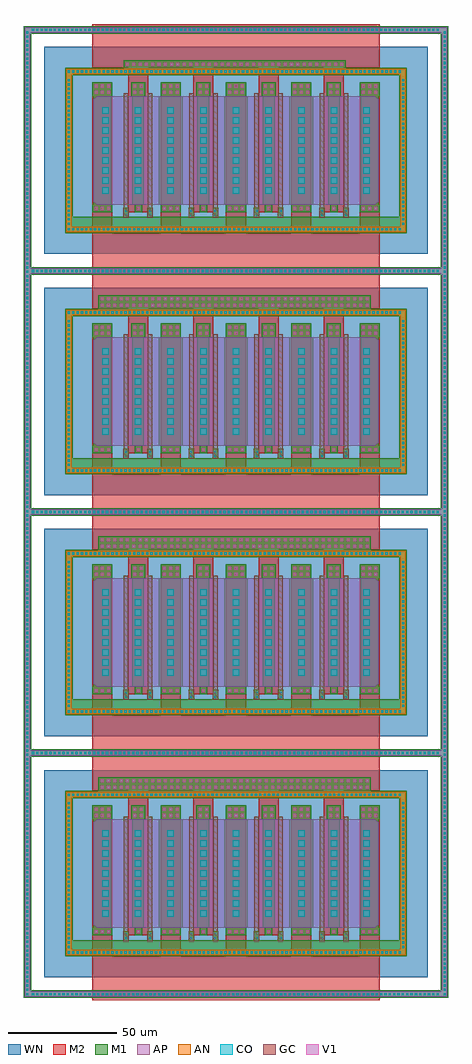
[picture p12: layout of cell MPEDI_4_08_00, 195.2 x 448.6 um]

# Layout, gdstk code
import gdstk
lib = gdstk.Library(unit=1e-6, precision=1e-09)
def R(c, l, rs):  # rectangles x0, y0, x1, y1
    for r in rs: c.add(gdstk.rectangle(r[:2], r[2:], *l))
def A(c, l, x, y, w, h, nx, ny, dx, dy):  # array of equal rectangles
    R(c, l, [(x+i*dx, y+j*dy, x+i*dx+w, y+j*dy+h) for i in range(nx) for j in range(ny)])
def P(c, l, *ps):  # polygons
    for p in ps: c.add(gdstk.Polygon(p, *l))
AP = (3, 1)
AN = (3, 2)
GC = (8, 1)
CO = (11, 0)
M1 = (13, 0)
V1 = (19, 0)
M2 = (20, 0)
WN = (140, 0)

wlmp_cdns_696587111913 = lib.new_cell('WLMP_CDNS_696587111913')
R(wlmp_cdns_696587111913, WN, [(1.5,1.5,177.7,96.7)])

tc14_cdns_696587111910 = lib.new_cell('TC14_CDNS_696587111910')
R(tc14_cdns_696587111910, M1, [(-51,-1.7,51,1.7)])
A(tc14_cdns_696587111910, V1, -50, -0.7, 1.4, 1.4, 35, 1, 2.9, 0)
R(tc14_cdns_696587111910, M2, [(-51,-1.7,51,1.7)])

sgct_cdns_696587111911 = lib.new_cell('SGCT_CDNS_696587111911')
R(sgct_cdns_696587111911, GC, [(-1.3,-2.3,1.3,2.3)])
R(sgct_cdns_696587111911, CO, [(-0.5,-1.5,0.5,-0.5), (-0.5,0.5,0.5,1.5)])
R(sgct_cdns_696587111911, M1, [(-1.3,-2.3,1.3,2.3)])

tc14_cdns_696587111912 = lib.new_cell('TC14_CDNS_696587111912')
R(tc14_cdns_696587111912, M1, [(-4.6,-1.7,4.6,1.7)])
A(tc14_cdns_696587111912, V1, -3.6, -0.7, 1.4, 1.4, 3, 1, 2.9, 0)
R(tc14_cdns_696587111912, M2, [(-4.6,-1.7,4.6,1.7)])

tc14_cdns_696587111913 = lib.new_cell('TC14_CDNS_696587111913')
R(tc14_cdns_696587111913, M1, [(-4.6,-3.1,4.6,3.2)])
A(tc14_cdns_696587111913, V1, -3.6, -2.1, 1.4, 1.4, 3, 2, 2.9, 2.9)
R(tc14_cdns_696587111913, M2, [(-4.6,-3.1,4.6,3.2)])

tc14_cdns_696587111914 = lib.new_cell('TC14_CDNS_696587111914')
R(tc14_cdns_696587111914, M1, [(-1.7,-3.1,1.7,3.2)])
R(tc14_cdns_696587111914, V1, [(-0.7,-2.1,0.7,-0.7), (-0.7,0.8,0.7,2.2)])
R(tc14_cdns_696587111914, M2, [(-1.7,-3.1,1.7,3.2)])

tc14_cdns_696587111915 = lib.new_cell('TC14_CDNS_696587111915')
R(tc14_cdns_696587111915, M1, [(-1.7,-1.7,1.7,1.7)])
R(tc14_cdns_696587111915, V1, [(-0.7,-0.7,0.7,0.7)])
R(tc14_cdns_696587111915, M2, [(-1.7,-1.7,1.7,1.7)])

mpedi_08_00_int = lib.new_cell('MPEDI_08_00_int')
P(mpedi_08_00_int, AP, [(25.5,24.1),(24.1,25.5),(24.1,72.7),(25.5,74.1),(153.7,74.1),(155.1,72.7),(155.1,25.5),(153.7,24.1)])
P(mpedi_08_00_int, AN, [(11.5,11.5),(11.5,84.1),(14.1,84.1),(14.1,14.1),(165.1,14.1),(165.1,84.1),(11.5,84.1),(11.5,86.7),(167.7,86.7),(167.7,11.5)],
  [(11.5,11.5),(11.5,84.1),(14.1,84.1),(14.1,14.1),(165.1,14.1),(165.1,84.1),(11.5,84.1),(11.5,86.7),(167.7,86.7),(167.7,11.5)])
R(mpedi_08_00_int, GC, [(38.1,22.7,40.1,75.3), (49.1,22.7,51.1,75.3), (68.1,22.7,70.1,75.3), (79.1,22.7,81.1,75.3), (98.1,22.7,100.1,75.3), (109.1,22.7,111.1,75.3), (128.1,22.7,130.1,75.3), (139.1,22.7,141.1,75.3)])
A(mpedi_08_00_int, CO, 12.3, 12.3, 1, 1, 77, 2, 2, 72.6)
A(mpedi_08_00_int, CO, 12.3, 14.9, 1, 1, 1, 34, 0, 2)
A(mpedi_08_00_int, CO, 165.9, 14.9, 1, 1, 1, 34, 0, 2)
A(mpedi_08_00_int, CO, 28.1, 29.2, 3, 3, 1, 9, 0, 4.6)
A(mpedi_08_00_int, CO, 148.1, 29.2, 3, 3, 1, 9, 0, 4.6)
R(mpedi_08_00_int, CO, [(43.1,29.2,46.1,32.2), (43.1,29.2,46.1,32.2), (58.1,29.2,61.1,32.2), (58.1,29.2,61.1,32.2), (73.1,29.2,76.1,32.2), (73.1,29.2,76.1,32.2), (88.1,29.2,91.1,32.2), (88.1,29.2,91.1,32.2), (103.1,29.2,106.1,32.2), (103.1,29.2,106.1,32.2), (118.1,29.2,121.1,32.2), (118.1,29.2,121.1,32.2), (133.1,29.2,136.1,32.2), (133.1,29.2,136.1,32.2), (43.1,33.8,46.1,36.8), (43.1,33.8,46.1,36.8), (58.1,33.8,61.1,36.8), (58.1,33.8,61.1,36.8), (73.1,33.8,76.1,36.8), (73.1,33.8,76.1,36.8), (88.1,33.8,91.1,36.8), (88.1,33.8,91.1,36.8), (103.1,33.8,106.1,36.8), (103.1,33.8,106.1,36.8), (118.1,33.8,121.1,36.8), (118.1,33.8,121.1,36.8), (133.1,33.8,136.1,36.8), (133.1,33.8,136.1,36.8), (43.1,38.4,46.1,41.4), (43.1,38.4,46.1,41.4), (58.1,38.4,61.1,41.4), (58.1,38.4,61.1,41.4), (73.1,38.4,76.1,41.4), (73.1,38.4,76.1,41.4), (88.1,38.4,91.1,41.4), (88.1,38.4,91.1,41.4), (103.1,38.4,106.1,41.4), (103.1,38.4,106.1,41.4), (118.1,38.4,121.1,41.4), (118.1,38.4,121.1,41.4), (133.1,38.4,136.1,41.4), (133.1,38.4,136.1,41.4), (43.1,43,46.1,46), (43.1,43,46.1,46), (58.1,43,61.1,46), (58.1,43,61.1,46), (73.1,43,76.1,46), (73.1,43,76.1,46), (88.1,43,91.1,46), (88.1,43,91.1,46), (103.1,43,106.1,46), (103.1,43,106.1,46), (118.1,43,121.1,46), (118.1,43,121.1,46), (133.1,43,136.1,46), (133.1,43,136.1,46), (43.1,47.6,46.1,50.6), (43.1,47.6,46.1,50.6), (58.1,47.6,61.1,50.6), (58.1,47.6,61.1,50.6), (73.1,47.6,76.1,50.6), (73.1,47.6,76.1,50.6), (88.1,47.6,91.1,50.6), (88.1,47.6,91.1,50.6), (103.1,47.6,106.1,50.6), (103.1,47.6,106.1,50.6), (118.1,47.6,121.1,50.6), (118.1,47.6,121.1,50.6), (133.1,47.6,136.1,50.6), (133.1,47.6,136.1,50.6), (43.1,52.2,46.1,55.2), (43.1,52.2,46.1,55.2), (58.1,52.2,61.1,55.2), (58.1,52.2,61.1,55.2), (73.1,52.2,76.1,55.2), (73.1,52.2,76.1,55.2), (88.1,52.2,91.1,55.2), (88.1,52.2,91.1,55.2), (103.1,52.2,106.1,55.2), (103.1,52.2,106.1,55.2), (118.1,52.2,121.1,55.2), (118.1,52.2,121.1,55.2), (133.1,52.2,136.1,55.2), (133.1,52.2,136.1,55.2), (43.1,56.8,46.1,59.8), (43.1,56.8,46.1,59.8), (58.1,56.8,61.1,59.8), (58.1,56.8,61.1,59.8), (73.1,56.8,76.1,59.8), (73.1,56.8,76.1,59.8), (88.1,56.8,91.1,59.8), (88.1,56.8,91.1,59.8), (103.1,56.8,106.1,59.8), (103.1,56.8,106.1,59.8), (118.1,56.8,121.1,59.8), (118.1,56.8,121.1,59.8), (133.1,56.8,136.1,59.8), (133.1,56.8,136.1,59.8), (43.1,61.4,46.1,64.4), (43.1,61.4,46.1,64.4), (58.1,61.4,61.1,64.4), (58.1,61.4,61.1,64.4), (73.1,61.4,76.1,64.4), (73.1,61.4,76.1,64.4), (88.1,61.4,91.1,64.4), (88.1,61.4,91.1,64.4), (103.1,61.4,106.1,64.4), (103.1,61.4,106.1,64.4), (118.1,61.4,121.1,64.4), (118.1,61.4,121.1,64.4), (133.1,61.4,136.1,64.4), (133.1,61.4,136.1,64.4), (43.1,66,46.1,69), (43.1,66,46.1,69), (58.1,66,61.1,69), (58.1,66,61.1,69), (73.1,66,76.1,69), (73.1,66,76.1,69), (88.1,66,91.1,69), (88.1,66,91.1,69), (103.1,66,106.1,69), (103.1,66,106.1,69), (118.1,66,121.1,69), (118.1,66,121.1,69), (133.1,66,136.1,69), (133.1,66,136.1,69)])
R(mpedi_08_00_int, M1, [(11.5,11.5,167.7,14.1), (11.5,14.1,14.1,84.1), (14.1,14.1,165.1,18.5), (165.1,14.1,167.7,84.1), (24.1,24.1,32.3,74.1), (41.9,24.1,47.3,74.1), (41.9,24.1,47.3,74.1), (54.1,24.1,62.3,74.1), (56.9,24.1,65.1,74.1), (71.9,24.1,77.3,74.1), (71.9,24.1,77.3,74.1), (84.1,24.1,92.3,74.1), (86.9,24.1,95.1,74.1), (101.9,24.1,107.3,74.1), (101.9,24.1,107.3,74.1), (114.1,24.1,122.3,74.1), (116.9,24.1,125.1,74.1), (131.9,24.1,137.3,74.1), (131.9,24.1,137.3,74.1), (146.9,24.1,155.1,74.1), (11.5,84.1,167.7,86.7)])
A(mpedi_08_00_int, M2, 55, 8.1, 9.2, 72.3, 3, 1, 30, 0)
A(mpedi_08_00_int, M2, 40, 20.7, 9.2, 69.8, 4, 1, 30, 0)
R(mpedi_08_00_int, M2, [(23.6,8.1,32.8,80.4), (23.6,8.1,25,9.5), (146.4,8.1,155.6,80.4), (38,89.1,39.4,90.5)])
mpedi_08_00_int.add(gdstk.FlexPath([(11.1,12.8),(168.1,12.8)], 3.4, ends="flush", simple_path=True, layer=13, datatype=0))  # M1
mpedi_08_00_int.add(gdstk.FlexPath([(11.1,85.4),(168.1,85.4)], 3.4, ends="flush", simple_path=True, layer=13, datatype=0))  # M1
mpedi_08_00_int.add(gdstk.FlexPath([(12.8,11.1),(12.8,87.1)], 3.4, ends="flush", simple_path=True, layer=13, datatype=0))  # M1
mpedi_08_00_int.add(gdstk.FlexPath([(166.4,11.1),(166.4,87.1)], 3.4, ends="flush", simple_path=True, layer=13, datatype=0))  # M1
mpedi_08_00_int.add(gdstk.FlexPath([(155.6,9.6),(23.6,9.6)], 3, ends="flush", simple_path=True, layer=20, datatype=0))  # M2
mpedi_08_00_int.add(gdstk.Reference(wlmp_cdns_696587111913, (0,0)))
mpedi_08_00_int.add(gdstk.Reference(tc14_cdns_696587111910, (89,88.8)))
mpedi_08_00_int.add(gdstk.Reference(sgct_cdns_696587111911, (140.1,20.4)))
mpedi_08_00_int.add(gdstk.Reference(sgct_cdns_696587111911, (129.1,20.4)))
mpedi_08_00_int.add(gdstk.Reference(sgct_cdns_696587111911, (110.1,20.4)))
mpedi_08_00_int.add(gdstk.Reference(sgct_cdns_696587111911, (99.1,20.4)))
mpedi_08_00_int.add(gdstk.Reference(sgct_cdns_696587111911, (80.1,20.4)))
mpedi_08_00_int.add(gdstk.Reference(sgct_cdns_696587111911, (69.1,20.4)))
mpedi_08_00_int.add(gdstk.Reference(sgct_cdns_696587111911, (50.1,20.4)))
mpedi_08_00_int.add(gdstk.Reference(sgct_cdns_696587111911, (39.1,20.4)))
mpedi_08_00_int.add(gdstk.Reference(tc14_cdns_696587111912, (151,22.4)))
mpedi_08_00_int.add(gdstk.Reference(tc14_cdns_696587111912, (119.6,22.4)))
mpedi_08_00_int.add(gdstk.Reference(tc14_cdns_696587111912, (89.6,22.4)))
mpedi_08_00_int.add(gdstk.Reference(tc14_cdns_696587111912, (59.6,22.4)))
mpedi_08_00_int.add(gdstk.Reference(tc14_cdns_696587111912, (28.2,22.4)))
mpedi_08_00_int.add(gdstk.Reference(tc14_cdns_696587111913, (151,77.2)))
mpedi_08_00_int.add(gdstk.Reference(tc14_cdns_696587111913, (119.6,77.2)))
mpedi_08_00_int.add(gdstk.Reference(tc14_cdns_696587111913, (89.6,77.2)))
mpedi_08_00_int.add(gdstk.Reference(tc14_cdns_696587111913, (59.6,77.2)))
mpedi_08_00_int.add(gdstk.Reference(tc14_cdns_696587111913, (28.2,77.2)))
mpedi_08_00_int.add(gdstk.Reference(tc14_cdns_696587111914, (136.1,77.2)))
mpedi_08_00_int.add(gdstk.Reference(tc14_cdns_696587111914, (133.1,77.2)))
mpedi_08_00_int.add(gdstk.Reference(tc14_cdns_696587111914, (106.1,77.2)))
mpedi_08_00_int.add(gdstk.Reference(tc14_cdns_696587111914, (103.1,77.2)))
mpedi_08_00_int.add(gdstk.Reference(tc14_cdns_696587111914, (76.1,77.2)))
mpedi_08_00_int.add(gdstk.Reference(tc14_cdns_696587111914, (73.1,77.2)))
mpedi_08_00_int.add(gdstk.Reference(tc14_cdns_696587111914, (46.1,77.2)))
mpedi_08_00_int.add(gdstk.Reference(tc14_cdns_696587111914, (43.1,77.2)))
mpedi_08_00_int.add(gdstk.Reference(tc14_cdns_696587111915, (134.6,22.4)))
mpedi_08_00_int.add(gdstk.Reference(tc14_cdns_696587111915, (104.6,22.4)))
mpedi_08_00_int.add(gdstk.Reference(tc14_cdns_696587111915, (74.6,22.4)))
mpedi_08_00_int.add(gdstk.Reference(tc14_cdns_696587111915, (44.7,22.4)))

tc14_cdns_696587063540 = lib.new_cell('TC14_CDNS_696587063540')
R(tc14_cdns_696587063540, M1, [(-62.4,-3,62.8,3.3)])
A(tc14_cdns_696587063540, V1, -61.4, -2, 1.4, 1.4, 43, 2, 2.9, 2.9)
R(tc14_cdns_696587063540, M2, [(-62.4,-3,62.8,3.3)])

mpedi_4_08_00 = lib.new_cell('MPEDI_4_08_00')
P(mpedi_4_08_00, AP, [(1.4,1.4),(1.4,112.2),(4,112.2),(4,4),(193.2,4),(193.2,112.2),(1.4,112.2),(1.4,223),(4,223),(4,114.8),(193.2,114.8),(193.2,223),(1.4,223),(1.4,333.8),(4,333.8),(4,225.6),(193.2,225.6),(193.2,333.8),(1.4,333.8),(1.4,444.6),(4,444.6),(4,336.4),(193.2,336.4),(193.2,444.6),(1.4,444.6),(1.4,447.2),(195.8,447.2),(195.8,1.4)])
A(mpedi_4_08_00, CO, 2.2, 2.2, 1, 1, 1, 222, 0, 2)
A(mpedi_4_08_00, CO, 4.8, 2.2, 1, 1, 94, 5, 2, 110.8)
A(mpedi_4_08_00, CO, 194, 2.2, 1, 1, 1, 222, 0, 2)
A(mpedi_4_08_00, M1, 4, 1.4, 189.2, 2.6, 1, 5, 0, 110.8)
R(mpedi_4_08_00, M1, [(1.4,1.4,4,447.2), (193.2,1.4,195.8,447.2)])
R(mpedi_4_08_00, M2, [(32.6,0,164.6,20.1), (32.6,0,164.6,20.1), (32.6,17.1,34,18.5), (32.6,96.1,164.6,130.9), (32.6,96.1,164.6,130.9), (32.6,206.9,164.6,241.7), (32.6,206.9,164.6,241.7), (32.6,317.7,164.6,352.5), (32.6,317.7,164.6,337.8), (32.6,428.5,164.6,448.6), (32.6,447.2,34,448.6)])
mpedi_4_08_00.add(gdstk.FlexPath([(1,113.5),(196.2,113.5)], 3.4, ends="flush", simple_path=True, layer=13, datatype=0))  # M1
mpedi_4_08_00.add(gdstk.FlexPath([(1,224.3),(196.2,224.3)], 3.4, ends="flush", simple_path=True, layer=13, datatype=0))  # M1
mpedi_4_08_00.add(gdstk.FlexPath([(1,445.9),(196.2,445.9)], 3.4, ends="flush", simple_path=True, layer=13, datatype=0))  # M1
mpedi_4_08_00.add(gdstk.FlexPath([(194.5,1),(194.5,447.6)], 3.4, ends="flush", simple_path=True, layer=13, datatype=0))  # M1
mpedi_4_08_00.add(gdstk.FlexPath([(2.7,1),(2.7,447.6)], 3.4, ends="flush", simple_path=True, layer=13, datatype=0))  # M1
mpedi_4_08_00.add(gdstk.FlexPath([(1,2.7),(196.2,2.7)], 3.4, ends="flush", simple_path=True, layer=13, datatype=0))  # M1
mpedi_4_08_00.add(gdstk.FlexPath([(1,335.1),(196.2,335.1)], 3.4, ends="flush", simple_path=True, layer=13, datatype=0))  # M1
mpedi_4_08_00.add(gdstk.Reference(mpedi_08_00_int, (9,230.6)))
mpedi_4_08_00.add(gdstk.Reference(mpedi_08_00_int, (9,119.8)))
mpedi_4_08_00.add(gdstk.Reference(mpedi_08_00_int, (9,9)))
mpedi_4_08_00.add(gdstk.Reference(mpedi_08_00_int, (9,341.4)))
mpedi_4_08_00.add(gdstk.Reference(tc14_cdns_696587063540, (97.8,320.7)))
mpedi_4_08_00.add(gdstk.Reference(tc14_cdns_696587063540, (97.8,99.1)))
mpedi_4_08_00.add(gdstk.Reference(tc14_cdns_696587063540, (97.8,209.9)))

lib.write_gds('MPEDI_4_08_00.gds')
